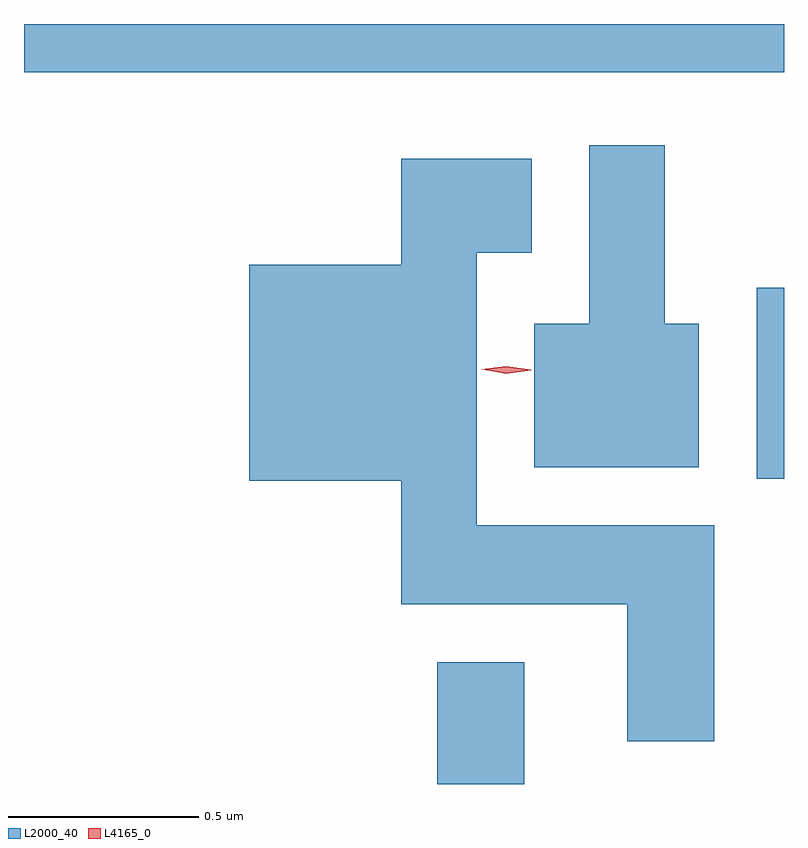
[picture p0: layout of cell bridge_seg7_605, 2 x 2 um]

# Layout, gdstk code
import gdstk
lib = gdstk.Library(unit=1e-6, precision=1e-09)
def R(c, l, rs):  # rectangles x0, y0, x1, y1
    for r in rs: c.add(gdstk.rectangle(r[:2], r[2:], *l))
def P(c, l, *ps):  # polygons
    for p in ps: c.add(gdstk.Polygon(p, *l))
L2000_40 = (2000, 40)
L4165_0 = (4165, 0)

bridge_seg7_605 = lib.new_cell('bridge_seg7_605')
R(bridge_seg7_605, L2000_40, [(639.041,1763.503,639.269,1763.824), (639.881,1764.306,639.953,1764.809), (637.953,1765.376,639.953,1765.503)])
P(bridge_seg7_605, L2000_40, [(639.729,1764.714),(639.639,1764.714),(639.639,1765.184),(639.441,1765.184),(639.441,1764.714),(639.296,1764.714),(639.296,1764.336),(639.729,1764.336)],
  [(639.769,1764.184),(639.144,1764.184),(639.144,1764.901),(639.289,1764.901),(639.289,1765.149),(638.946,1765.149),(638.946,1764.869),(638.546,1764.869),(638.546,1764.301),(638.946,1764.301),(638.946,1763.976),(639.541,1763.976),(639.541,1763.616),(639.769,1763.616)])
P(bridge_seg7_605, L4165_0, [(639.222,1764.583),(639.156,1764.594),(639.156,1764.595),(639.156,1764.595),(639.222,1764.603),(639.288,1764.593),(639.288,1764.592),(639.288,1764.592)])

lib.write_gds('bridge_seg7_605.gds')
